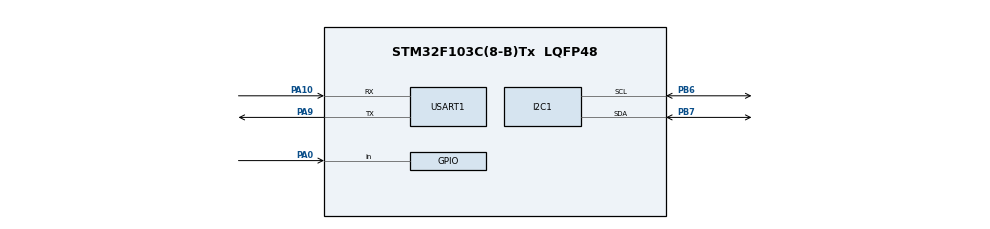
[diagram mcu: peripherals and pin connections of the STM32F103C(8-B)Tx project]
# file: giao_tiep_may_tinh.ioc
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Mcu.Family=STM32F1
Mcu.Name=STM32F103C(8-B)Tx
Mcu.Package=LQFP48
NVIC.PriorityGroup=NVIC_PRIORITYGROUP_4
NVIC.USART1_IRQn=true\:1\:0\:true\:false\:true\:true\:true\:true
PA0-WKUP.GPIO_PuPd=GPIO_PULLUP
PA0-WKUP.Signal=GPIO_Input
PA10.Mode=Asynchronous
PA10.Signal=USART1_RX
PA13.Mode=Serial_Wire
PA13.Signal=SYS_JTMS-SWDIO
PA14.Mode=Serial_Wire
PA14.Signal=SYS_JTCK-SWCLK
PA9.Mode=Asynchronous
PA9.Signal=USART1_TX
PB6.Mode=I2C
PB6.Signal=I2C1_SCL
PB7.Mode=I2C
PB7.Signal=I2C1_SDA
PD0-OSC_IN.Mode=HSE-External-Oscillator
PD0-OSC_IN.Signal=RCC_OSC_IN
PD1-OSC_OUT.Mode=HSE-External-Oscillator
PD1-OSC_OUT.Signal=RCC_OSC_OUT
ProjectManager.HeapSize=0x200
ProjectManager.StackSize=0x400
ProjectManager.TargetToolchain=MDK-ARM V5.32
RCC.APB1Freq_Value=8000000
RCC.APB2Freq_Value=8000000
USART1.VirtualMode=VM_ASYNC
board=custom

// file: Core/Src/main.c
/* USER CODE BEGIN Header */
/**
  ******************************************************************************
  * @file           : main.c
  * @brief          : Main program body
  ******************************************************************************
  * @attention
  *
  * Copyright (c) 2022 STMicroelectronics.
  * All rights reserved.
  *
  * This software is licensed under terms that can be found in the LICENSE file
  * in the root directory of this software component.
  * If no LICENSE file comes with this software, it is provided AS-IS.
  *
  ******************************************************************************
  */
/* USER CODE END Header */
#include "main.h"

/* USER CODE BEGIN Includes */
#include "i2c-lcd.h"
#include "string.h"
/* USER CODE END Includes */

 I2C_HandleTypeDef hi2c1;

UART_HandleTypeDef huart1;

void SystemClock_Config(void);
static void MX_GPIO_Init(void);
static void MX_I2C1_Init(void);
static void MX_USART1_UART_Init(void);

/* USER CODE BEGIN 0 */
 uint8_t finish = 0;
 uint8_t buffer[17];
 uint8_t Index = 0;
 uint8_t Receive;
 void TruyenChuoi(char *str);

/* USER CODE END 0 */

int main(void)
{

  /* MCU Configuration--------------------------------------------------------*/

  /* Reset of all peripherals, Initializes the Flash interface and the Systick. */
  HAL_Init();

  /* Configure the system clock */
  SystemClock_Config();

  /* Initialize all configured peripherals */
  MX_GPIO_Init();
  MX_I2C1_Init();
  MX_USART1_UART_Init();
  /* USER CODE BEGIN 2 */
	HAL_UART_Receive_IT(&huart1, &Receive, 1);
  /* USER CODE END 2 */
	lcd_init();
	lcd_clear();
	//khi nhan du lieu xong thi tao ra ngay nhan 1 bit du lieu

  /* Infinite loop */
  while (1)
  {
    /* USER CODE BEGIN 3 */
		lcd_send_cmd(0x80|0x00);
		lcd_send_string("GIAO TIEP UART");
		if(finish == 1)//neu nhan du du lieu
		{
			lcd_send_cmd(0x80|0x40);
			for(uint8_t i = 0; i < 10; i++)
			{
							lcd_send_data(buffer[i] + 48);
			}

			finish = 0;
			for(uint8_t i = 0; i < 10; i++)
			{
				buffer[i] = 0;
			}
			Index = 0;
		}

		if(HAL_GPIO_ReadPin(GPIOA, GPIO_PIN_0) == 0)
		{
			while(HAL_GPIO_ReadPin(GPIOA, GPIO_PIN_0) == 0);
			TruyenChuoi("HELLO WORLD!\r\n");
		}
  }
  /* USER CODE END 3 */
}

 void HAL_UART_TxCpltCallback(UART_HandleTypeDef *huart)
 {
	 if(huart->Instance == huart1.Instance)
	 {
		 if(Receive != '.')
			 {
				 buffer[Index] = Receive; // gan du lieu nhan duoc cho phan tu buffer
				 Index++;
				 if(Index>=16)
				 {
					 Index = 0;
				 }
			 }
			 else
			 {
				 finish = 1;//bao la nhan du lieu
			 }
			 //kich hoat nhan byte ke tiep
			 HAL_UART_Receive_IT(&huart1,&Receive,1);
		}

 }

void TruyenChuoi(char *str)
{
	uint8_t i = 0;
	while(str[i] !=0)
	{
		uint8_t Send = str[i];
		HAL_UART_Transmit(&huart1, &Send,1, 1);
		i++;
	}
}

void SystemClock_Config(void)
{
  RCC_OscInitTypeDef RCC_OscInitStruct = {0};
  RCC_ClkInitTypeDef RCC_ClkInitStruct = {0};

  /** Initializes the RCC Oscillators according to the specified parameters
  * in the RCC_OscInitTypeDef structure.
  */
  RCC_OscInitStruct.OscillatorType = RCC_OSCILLATORTYPE_HSI;
  RCC_OscInitStruct.HSIState = RCC_HSI_ON;
  RCC_OscInitStruct.HSICalibrationValue = RCC_HSICALIBRATION_DEFAULT;
  RCC_OscInitStruct.PLL.PLLState = RCC_PLL_NONE;
  if (HAL_RCC_OscConfig(&RCC_OscInitStruct) != HAL_OK)
  {
    Error_Handler();
  }

  /** Initializes the CPU, AHB and APB buses clocks
  */
  RCC_ClkInitStruct.ClockType = RCC_CLOCKTYPE_HCLK|RCC_CLOCKTYPE_SYSCLK
                              |RCC_CLOCKTYPE_PCLK1|RCC_CLOCKTYPE_PCLK2;
  RCC_ClkInitStruct.SYSCLKSource = RCC_SYSCLKSOURCE_HSI;
  RCC_ClkInitStruct.AHBCLKDivider = RCC_SYSCLK_DIV1;
  RCC_ClkInitStruct.APB1CLKDivider = RCC_HCLK_DIV1;
  RCC_ClkInitStruct.APB2CLKDivider = RCC_HCLK_DIV1;

  if (HAL_RCC_ClockConfig(&RCC_ClkInitStruct, FLASH_LATENCY_0) != HAL_OK)
  {
    Error_Handler();
  }
}

static void MX_I2C1_Init(void)
{

  hi2c1.Instance = I2C1;
  hi2c1.Init.ClockSpeed = 100000;
  hi2c1.Init.DutyCycle = I2C_DUTYCYCLE_2;
  hi2c1.Init.OwnAddress1 = 0;
  hi2c1.Init.AddressingMode = I2C_ADDRESSINGMODE_7BIT;
  hi2c1.Init.DualAddressMode = I2C_DUALADDRESS_DISABLE;
  hi2c1.Init.OwnAddress2 = 0;
  hi2c1.Init.GeneralCallMode = I2C_GENERALCALL_DISABLE;
  hi2c1.Init.NoStretchMode = I2C_NOSTRETCH_DISABLE;
  if (HAL_I2C_Init(&hi2c1) != HAL_OK)
  {
    Error_Handler();
  }

}

static void MX_USART1_UART_Init(void)
{

  huart1.Instance = USART1;
  huart1.Init.BaudRate = 115200;
  huart1.Init.WordLength = UART_WORDLENGTH_8B;
  huart1.Init.StopBits = UART_STOPBITS_1;
  huart1.Init.Parity = UART_PARITY_NONE;
  huart1.Init.Mode = UART_MODE_TX_RX;
  huart1.Init.HwFlowCtl = UART_HWCONTROL_NONE;
  huart1.Init.OverSampling = UART_OVERSAMPLING_16;
  if (HAL_UART_Init(&huart1) != HAL_OK)
  {
    Error_Handler();
  }

}

static void MX_GPIO_Init(void)
{
  GPIO_InitTypeDef GPIO_InitStruct = {0};

  /* GPIO Ports Clock Enable */
  __HAL_RCC_GPIOD_CLK_ENABLE();
  __HAL_RCC_GPIOA_CLK_ENABLE();
  __HAL_RCC_GPIOB_CLK_ENABLE();

  /*Configure GPIO pin : PA0 */
  GPIO_InitStruct.Pin = GPIO_PIN_0;
  GPIO_InitStruct.Mode = GPIO_MODE_INPUT;
  GPIO_InitStruct.Pull = GPIO_PULLUP;
  HAL_GPIO_Init(GPIOA, &GPIO_InitStruct);

}

void Error_Handler(void)
{
  __disable_irq();
  while (1)
  {
  }
}
